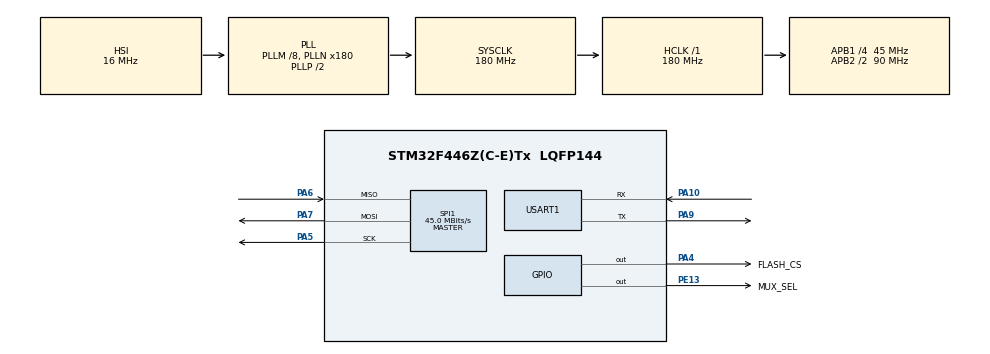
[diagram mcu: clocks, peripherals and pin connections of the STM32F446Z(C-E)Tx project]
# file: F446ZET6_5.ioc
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Mcu.Family=STM32F4
Mcu.Name=STM32F446Z(C-E)Tx
Mcu.Package=LQFP144
NVIC.PriorityGroup=NVIC_PRIORITYGROUP_4
PA10.Mode=Asynchronous
PA10.Signal=USART1_RX
PA13.Mode=Serial_Wire
PA13.Signal=SYS_JTMS-SWDIO
PA14.Mode=Serial_Wire
PA14.Signal=SYS_JTCK-SWCLK
PA4.GPIO_Label=FLASH_CS
PA4.Signal=GPIO_Output
PA5.Mode=Full_Duplex_Master
PA5.Signal=SPI1_SCK
PA6.Mode=Full_Duplex_Master
PA6.Signal=SPI1_MISO
PA7.Mode=Full_Duplex_Master
PA7.Signal=SPI1_MOSI
PA9.Mode=Asynchronous
PA9.Signal=USART1_TX
PE13.GPIO_Label=MUX_SEL
PE13.Signal=GPIO_Output
ProjectManager.HeapSize=0x200
ProjectManager.StackSize=0x400
ProjectManager.TargetToolchain=STM32CubeIDE
RCC.AHBFreq_Value=180000000
RCC.APB1CLKDivider=RCC_HCLK_DIV4
RCC.APB1Freq_Value=45000000
RCC.APB1TimFreq_Value=90000000
RCC.APB2CLKDivider=RCC_HCLK_DIV2
RCC.APB2Freq_Value=90000000
RCC.APB2TimFreq_Value=180000000
RCC.CortexFreq_Value=180000000
RCC.HCLKFreq_Value=180000000
RCC.PLLM=8
RCC.PLLN=180
RCC.SYSCLKFreq_VALUE=180000000
RCC.SYSCLKSource=RCC_SYSCLKSOURCE_PLLCLK
RCC.USBFreq_Value=180000000
RCC.VCOOutputFreq_Value=360000000
SPI1.BaudRatePrescaler=SPI_BAUDRATEPRESCALER_2
SPI1.CalculateBaudRate=45.0 MBits/s
SPI1.Direction=SPI_DIRECTION_2LINES
SPI1.Mode=SPI_MODE_MASTER
SPI1.VirtualType=VM_MASTER
USART1.VirtualMode=VM_ASYNC
board=custom

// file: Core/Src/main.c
/* USER CODE BEGIN Header */
/**
  ******************************************************************************
  * @file           : main.c
  * @brief          : Main program body
  ******************************************************************************
  * @attention
  *
  * Copyright (c) 2023 STMicroelectronics.
  * All rights reserved.
  *
  * This software is licensed under terms that can be found in the LICENSE file
  * in the root directory of this software component.
  * If no LICENSE file comes with this software, it is provided AS-IS.
  *
  ******************************************************************************
  */
/* USER CODE END Header */
#include "main.h"

/* USER CODE BEGIN Includes */
#include "w25qxx.h"
/* USER CODE END Includes */

SPI_HandleTypeDef hspi1;

UART_HandleTypeDef huart1;

/* USER CODE BEGIN PV */
uint8_t buf[256] = {0};

uint8_t dum1[256] =
{	0x34, 0x7E, 0x9B, 0xCF, 0x0A, 0x29, 0x87, 0x3D,
    0x6B, 0x07, 0xBA, 0x20, 0xEF, 0xD2, 0xA7, 0xED,
    0x21, 0x3D, 0x76, 0x20, 0xCF, 0x55, 0x7B, 0x06,
    0xCD, 0x20, 0xE5, 0xB4, 0xFC, 0x68, 0x12, 0xCA,
    0xFA, 0x53, 0x93, 0xC5, 0xFE, 0xCB, 0xF1, 0xA8,
    0x5D, 0xB3, 0xCC, 0x4C, 0x42, 0x7D, 0xA1, 0xBA,
    0x74, 0xFD, 0xC9, 0xEB, 0xB3, 0x19, 0xE2, 0x82,
    0x9C, 0x6C, 0xFE, 0xF4, 0x3B, 0x70, 0x3E, 0xAB,
    0xF3, 0xCC, 0x6A, 0xCF, 0x53, 0x65, 0x56, 0xFE,
    0xF6, 0x0B, 0xBC, 0xAF, 0xBF, 0xA6, 0x7B, 0x6A,
    0xD1, 0xFF, 0xB3, 0xEE, 0x8F, 0xBB, 0xAC, 0x25,
    0x44, 0xDB, 0x6C, 0xE9, 0x3B, 0xA8, 0x6C, 0x53,
    0x47, 0xAE, 0x71, 0x0E, 0xA0, 0xDA, 0xCA, 0xDA,
    0x21, 0x05, 0xC3, 0xFE, 0x4C, 0x29, 0xD5, 0xA5,
    0xE6, 0xF9, 0x30, 0x69, 0x49, 0xC0, 0xB0, 0xDE,
    0x5E, 0x30, 0x07, 0xB4, 0x67, 0xD3, 0x10, 0x31,
    0x35, 0x22, 0x5E, 0xB3, 0x6C, 0x02, 0xF0, 0xD1,
    0x35, 0x7D, 0x49, 0x68, 0x32, 0x70, 0xF5, 0x30,
    0x38, 0x7D, 0x7F, 0x5B, 0x45, 0x82, 0x06, 0x47,
    0xB3, 0x66, 0x3E, 0xDC, 0x38, 0x5F, 0x14, 0x52,
    0x59, 0x83, 0xC2, 0x07, 0xF5, 0x66, 0x3D, 0xAF,
    0x0E, 0x0B, 0x4E, 0xF2, 0xC0, 0x5F, 0xA2, 0x5D,
    0x5D, 0xB8, 0xDF, 0x28, 0x6E, 0x17, 0x61, 0x4C,
    0x29, 0xED, 0x5C, 0x79, 0x06, 0x99, 0x18, 0x26,
    0x6D, 0xCB, 0xA4, 0xE4, 0xED, 0x68, 0x04, 0xC9,
    0xCF, 0x97, 0x22, 0xE9, 0x36, 0xED, 0xC0, 0x26,
    0xBA, 0xB7, 0x90, 0x7D, 0xBD, 0x35, 0x9E, 0x1B,
    0x88, 0x3F, 0xAD, 0xBF, 0x2A, 0x00, 0xBA, 0xB0,
    0x0F, 0x03, 0x44, 0x45, 0x16, 0x90, 0x79, 0xA6,
    0xF2, 0x33, 0x9B, 0xC3, 0x9A, 0xB7, 0x85, 0xEC,
    0xD6, 0x58, 0x2F, 0xE1, 0x92, 0xAF, 0x7F, 0xDA,
    0xCF, 0x31, 0xD1, 0x69, 0x5A, 0x96, 0xD0, 0x3A
};

uint8_t dum2[256] =
{	0x65, 0x4B, 0x8D, 0xD4, 0x03, 0x68, 0xF8, 0xA7,
	0x65, 0x02, 0x8F, 0xDE, 0x25, 0xBF, 0x0E, 0xE9,
	0x91, 0x3C, 0xE6, 0x2B, 0xD8, 0x0B, 0xE2, 0x82,
    0x05, 0x58, 0x07, 0x6E, 0x46, 0xC0, 0x8E, 0xBF,
	0x88, 0xDF, 0xEA, 0x3F, 0xC9, 0x51, 0x89, 0x86,
	0x50, 0x22, 0xEC, 0xBD, 0x20, 0x5B, 0x1C, 0x63,
    0xBB, 0x5F, 0x19, 0xFC, 0x58, 0xAF, 0xCF, 0x7F,
	0x40, 0xEB, 0x78, 0x99, 0xFC, 0xFE, 0xAE, 0xA1,
	0xB3, 0x04, 0xAE, 0xF7, 0x44, 0xAA, 0xB4, 0x82,
	0x3C, 0x4C, 0xFA, 0xFB, 0x73, 0xA4, 0x78, 0xAA,
	0x0D, 0x58, 0x7B, 0xE3, 0x7A, 0x14, 0x81, 0xE8,
    0x68, 0x37, 0x16, 0x20, 0x05, 0xC0, 0xFB, 0x91,
	0x51, 0x6A, 0x4A, 0x55, 0x74, 0xCA, 0x4E, 0x09,
	0x2B, 0x21, 0xE9, 0x6E, 0x6D, 0x96, 0xE0, 0xBD,
	0xDB, 0x81, 0x2F, 0xC7, 0xE3, 0x7B, 0x72, 0x61,
	0x5C, 0x57, 0xBD, 0xA7, 0x9B, 0xEE, 0x2B, 0xF1,
	0xCE, 0xB4, 0x2A, 0x51, 0x95, 0x26, 0xE3, 0x33,
	0x7E, 0x04, 0xB8, 0x8A, 0x9C, 0xB2, 0x82, 0x58,
	0x3C, 0x54, 0x61, 0x76, 0xD1, 0x47, 0x4F, 0xC1,
	0xB3, 0x3E, 0xE9, 0x3C, 0xA4, 0x9F, 0x7A, 0xB4,
	0x63, 0x4D, 0x8B, 0x5B, 0x84, 0xAE, 0xD3, 0xC8,
	0x22, 0x3A, 0x21, 0xC5, 0xFE, 0xFC, 0x0B, 0x9C,
	0x2C, 0x3B, 0x0B, 0xDC, 0x64, 0xE5, 0x4B, 0xC2,
	0x15, 0x84, 0x57, 0x12, 0xDD, 0x55, 0xA5, 0x30,
	0x70, 0x63, 0x94, 0x06, 0xCB, 0x76, 0x14, 0xB0,
	0xC9, 0x70, 0xFD, 0x1F, 0x13, 0xA7, 0x6E, 0xC6,
	0x7D, 0xD6, 0x7E, 0xE0, 0xDB, 0xFE, 0x27, 0xAD,
	0x9C, 0x33, 0xA0, 0x4F, 0xE4, 0x53, 0x7A, 0xB8,
    0x2F, 0x04, 0xE6, 0xB0, 0x6A, 0x22, 0x3A, 0x7D,
	0x88, 0x8B, 0x3F, 0xE5, 0x3A, 0x01, 0xF2, 0x70,
	0xAC, 0x7D, 0x7D, 0xDF, 0x54, 0x3C, 0x62, 0xBD,
    0x19, 0x59, 0x76, 0xE1, 0x37, 0x45, 0xAE, 0x94
};

uint8_t dum3[256] =
{	0xA3, 0x3F, 0x4A, 0x17, 0x4C, 0x9D, 0x36, 0x19,
    0x8B, 0x3C, 0xE5, 0x2F, 0xE0, 0x48, 0x97, 0x50,
    0xB2, 0x56, 0x34, 0xDC, 0x1B, 0x22, 0x97, 0x6A,
    0x73, 0xFD, 0xF3, 0x6F, 0x96, 0xBB, 0x55, 0x2D,
    0x1C, 0xFF, 0x36, 0x5F, 0x73, 0xF3, 0xA0, 0x63,
    0xAB, 0x02, 0xEB, 0x4B, 0x13, 0x72, 0xB9, 0xA7,
    0x67, 0x5D, 0xD9, 0x8E, 0x44, 0x95, 0xBD, 0x59,
    0x53, 0x2D, 0x54, 0x43, 0x86, 0xF5, 0x0F, 0x7D,
    0x4F, 0x52, 0x8A, 0xB4, 0x65, 0x25, 0xCB, 0x67,
    0x33, 0x44, 0x2D, 0x21, 0x24, 0xCC, 0xA9, 0xC8,
    0x32, 0x43, 0x38, 0xE6, 0xCD, 0x22, 0x0C, 0x27,
    0x40, 0xFF, 0x2E, 0xF5, 0x35, 0x4E, 0x99, 0x50,
    0xAD, 0x76, 0x8A, 0x5C, 0xDF, 0x3C, 0xEB, 0x54,
    0x15, 0xD8, 0xD5, 0x97, 0x56, 0x8F, 0x77, 0x3A,
    0x59, 0x80, 0x7D, 0x66, 0x96, 0x3C, 0xD4, 0x1F,
    0xB2, 0x79, 0xEC, 0x59, 0x60, 0x9E, 0xBA, 0xBC,
    0xE4, 0xBC, 0x00, 0xD0, 0xC0, 0x36, 0xF5, 0x1E,
    0xED, 0x7D, 0x5C, 0x75, 0x92, 0x6C, 0xDF, 0x15,
    0xD3, 0x7A, 0xC7, 0xD9, 0x4E, 0xA4, 0xC5, 0xED,
    0xF1, 0xE7, 0x39, 0xF6, 0xA0, 0xE6, 0x46, 0x29,
    0xCC, 0x8A, 0x66, 0x2C, 0x41, 0x79, 0x7F, 0x93,
    0x03, 0x05, 0x35, 0x8E, 0x1D, 0x28, 0x4F, 0xDA,
    0x59, 0x0D, 0x73, 0x70, 0x8F, 0x99, 0x55, 0x17,
    0xF8, 0x3C, 0x6D, 0xAE, 0x0C, 0x00, 0x8C, 0x5E,
    0xC2, 0x08, 0x2A, 0x4E, 0x5C, 0x2D, 0xE5, 0x03,
    0x0B, 0xC4, 0xCC, 0xF3, 0xDB, 0xC9, 0x6F, 0xBB,
    0x79, 0x40, 0x24, 0xED, 0xB1, 0x8F, 0x34, 0x04,
    0x14, 0x9C, 0x72, 0xAC, 0x81, 0x75, 0x11, 0x3B,
    0x25, 0x01, 0x22, 0x82, 0xB1, 0x07, 0x1F, 0x94,
    0x85, 0x33, 0x97, 0xB3, 0x7B, 0xD2, 0xEA, 0xC2,
    0x18, 0x98, 0x3D, 0xE2, 0xFF, 0x6F, 0x69, 0x2F,
    0x5B, 0xA8, 0xBC, 0x1D, 0x54, 0x6D, 0x61, 0xAA
};
/* USER CODE END PV */

void SystemClock_Config(void);
static void MX_GPIO_Init(void);
static void MX_SPI1_Init(void);
static void MX_USART1_UART_Init(void);

int main(void)
{

  /* MCU Configuration--------------------------------------------------------*/

  /* Reset of all peripherals, Initializes the Flash interface and the Systick. */
  HAL_Init();

  /* Configure the system clock */
  SystemClock_Config();

  /* Initialize all configured peripherals */
  MX_GPIO_Init();
  MX_SPI1_Init();
  MX_USART1_UART_Init();
  /* USER CODE BEGIN 2 */
  W25qxx_Init();

  W25qxx_WritePage(dum1, 1, 0, 256);
  W25qxx_ReadPage(buf, 1, 0, 256);
  W25qxx_EraseSector(0);
  W25qxx_ReadPage(buf, 1, 0, 256);
  /* USER CODE END 2 */

  /* Infinite loop */
  while (1)
  {

  }
}

void SystemClock_Config(void)
{
  RCC_OscInitTypeDef RCC_OscInitStruct = {0};
  RCC_ClkInitTypeDef RCC_ClkInitStruct = {0};

  /** Configure the main internal regulator output voltage
  */
  __HAL_RCC_PWR_CLK_ENABLE();
  __HAL_PWR_VOLTAGESCALING_CONFIG(PWR_REGULATOR_VOLTAGE_SCALE1);

  /** Initializes the RCC Oscillators according to the specified parameters
  * in the RCC_OscInitTypeDef structure.
  */
  RCC_OscInitStruct.OscillatorType = RCC_OSCILLATORTYPE_HSI;
  RCC_OscInitStruct.HSIState = RCC_HSI_ON;
  RCC_OscInitStruct.HSICalibrationValue = RCC_HSICALIBRATION_DEFAULT;
  RCC_OscInitStruct.PLL.PLLState = RCC_PLL_ON;
  RCC_OscInitStruct.PLL.PLLSource = RCC_PLLSOURCE_HSI;
  RCC_OscInitStruct.PLL.PLLM = 8;
  RCC_OscInitStruct.PLL.PLLN = 180;
  RCC_OscInitStruct.PLL.PLLP = RCC_PLLP_DIV2;
  RCC_OscInitStruct.PLL.PLLQ = 2;
  RCC_OscInitStruct.PLL.PLLR = 2;
  if (HAL_RCC_OscConfig(&RCC_OscInitStruct) != HAL_OK)
  {
    Error_Handler();
  }

  /** Activate the Over-Drive mode
  */
  if (HAL_PWREx_EnableOverDrive() != HAL_OK)
  {
    Error_Handler();
  }

  /** Initializes the CPU, AHB and APB buses clocks
  */
  RCC_ClkInitStruct.ClockType = RCC_CLOCKTYPE_HCLK|RCC_CLOCKTYPE_SYSCLK
                              |RCC_CLOCKTYPE_PCLK1|RCC_CLOCKTYPE_PCLK2;
  RCC_ClkInitStruct.SYSCLKSource = RCC_SYSCLKSOURCE_PLLCLK;
  RCC_ClkInitStruct.AHBCLKDivider = RCC_SYSCLK_DIV1;
  RCC_ClkInitStruct.APB1CLKDivider = RCC_HCLK_DIV4;
  RCC_ClkInitStruct.APB2CLKDivider = RCC_HCLK_DIV2;

  if (HAL_RCC_ClockConfig(&RCC_ClkInitStruct, FLASH_LATENCY_5) != HAL_OK)
  {
    Error_Handler();
  }
}

static void MX_SPI1_Init(void)
{

  /* SPI1 parameter configuration*/
  hspi1.Instance = SPI1;
  hspi1.Init.Mode = SPI_MODE_MASTER;
  hspi1.Init.Direction = SPI_DIRECTION_2LINES;
  hspi1.Init.DataSize = SPI_DATASIZE_8BIT;
  hspi1.Init.CLKPolarity = SPI_POLARITY_LOW;
  hspi1.Init.CLKPhase = SPI_PHASE_1EDGE;
  hspi1.Init.NSS = SPI_NSS_SOFT;
  hspi1.Init.BaudRatePrescaler = SPI_BAUDRATEPRESCALER_2;
  hspi1.Init.FirstBit = SPI_FIRSTBIT_MSB;
  hspi1.Init.TIMode = SPI_TIMODE_DISABLE;
  hspi1.Init.CRCCalculation = SPI_CRCCALCULATION_DISABLE;
  hspi1.Init.CRCPolynomial = 10;
  if (HAL_SPI_Init(&hspi1) != HAL_OK)
  {
    Error_Handler();
  }

}

static void MX_USART1_UART_Init(void)
{

  huart1.Instance = USART1;
  huart1.Init.BaudRate = 115200;
  huart1.Init.WordLength = UART_WORDLENGTH_8B;
  huart1.Init.StopBits = UART_STOPBITS_1;
  huart1.Init.Parity = UART_PARITY_NONE;
  huart1.Init.Mode = UART_MODE_TX_RX;
  huart1.Init.HwFlowCtl = UART_HWCONTROL_NONE;
  huart1.Init.OverSampling = UART_OVERSAMPLING_16;
  if (HAL_UART_Init(&huart1) != HAL_OK)
  {
    Error_Handler();
  }

}

static void MX_GPIO_Init(void)
{
  GPIO_InitTypeDef GPIO_InitStruct = {0};

  /* GPIO Ports Clock Enable */
  __HAL_RCC_GPIOA_CLK_ENABLE();
  __HAL_RCC_GPIOE_CLK_ENABLE();

  /*Configure GPIO pin Output Level */
  HAL_GPIO_WritePin(FLASH_CS_GPIO_Port, FLASH_CS_Pin, GPIO_PIN_RESET);

  /*Configure GPIO pin Output Level */
  HAL_GPIO_WritePin(MUX_SEL_GPIO_Port, MUX_SEL_Pin, GPIO_PIN_RESET);

  /*Configure GPIO pin : FLASH_CS_Pin */
  GPIO_InitStruct.Pin = FLASH_CS_Pin;
  GPIO_InitStruct.Mode = GPIO_MODE_OUTPUT_PP;
  GPIO_InitStruct.Pull = GPIO_NOPULL;
  GPIO_InitStruct.Speed = GPIO_SPEED_FREQ_LOW;
  HAL_GPIO_Init(FLASH_CS_GPIO_Port, &GPIO_InitStruct);

  /*Configure GPIO pin : MUX_SEL_Pin */
  GPIO_InitStruct.Pin = MUX_SEL_Pin;
  GPIO_InitStruct.Mode = GPIO_MODE_OUTPUT_PP;
  GPIO_InitStruct.Pull = GPIO_NOPULL;
  GPIO_InitStruct.Speed = GPIO_SPEED_FREQ_LOW;
  HAL_GPIO_Init(MUX_SEL_GPIO_Port, &GPIO_InitStruct);

}

void Error_Handler(void)
{
  __disable_irq();
  while (1)
  {
  }
}
